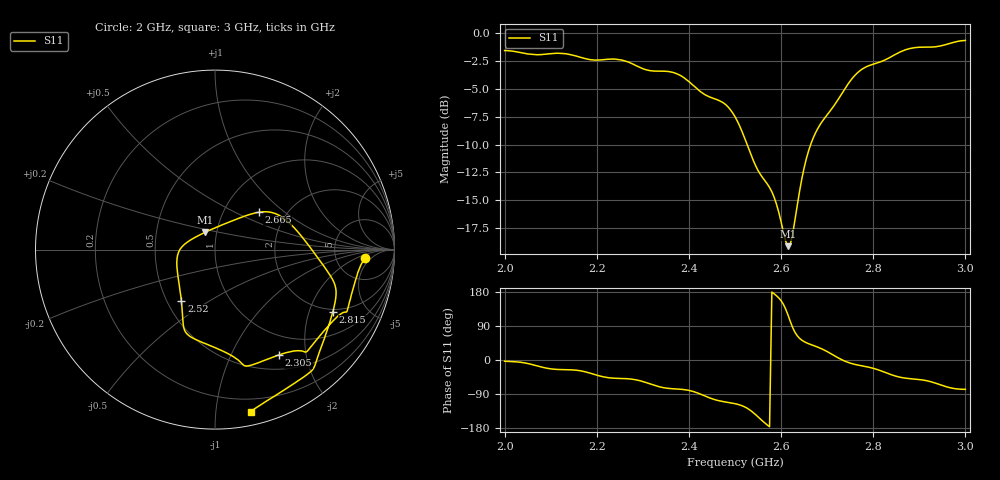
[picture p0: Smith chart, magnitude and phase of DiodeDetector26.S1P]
!Agilent Technologies,E5071C,MY46107443,A.09.30
!Date: Wed Jun 12 17:49:25 2013
!Data & Calibration Information:
!Freq	S11:SOLT1(ON)
# Hz S dB R 50
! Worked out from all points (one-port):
!   201 points, 2 GHz to 3 GHz, reference 50 ohm
!   lowest |S11| = -19.1 dB at 2.615 GHz (marker M1), VSWR 1.25, Z = 44.1 + j8.69 ohm
!   |S11| at or under -10 dB: 2.526 GHz to 2.664 GHz (137.8 MHz wide, 5.31 % of centre)
!   S11 on the Smith chart (normalised r, x): 2 GHz: 10, -3; 2.305 GHz: 0.70, -1.55; 2.52 GHz: 0.59, -0.38; 2.665 GHz: 1.46, +0.67; 2.815 GHz: 1.89, -2.91; 3 GHz: 0.10, -1.24
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2e9  -1.57 -3.2
2.04e9  -1.79 -6.9
2.095e9  -1.87 -22.4
2.125e9  -1.82 -25.4
2.165e9  -2.18 -28.6
2.22e9  -2.37 -45.7
2.25e9  -2.40 -48.7
2.305e9  -3.27 -58.8
2.34e9  -3.42 -71.9
2.375e9  -3.68 -76.6
2.4e9  -4.35 -80.2
2.46e9  -5.96 -106.0
2.5e9  -7.50 -115.2
2.52e9  -9.31 -123.2
2.575e9  -13.84 -176.1
2.615e9  -19.10 118.8
2.625e9  -18.06 86.1
2.645e9  -13.07 52.3
2.665e9  -9.91 40.6
2.7e9  -7.34 22.3
2.75e9  -4.30 -8.3
2.78e9  -3.13 -16.5
2.815e9  -2.59 -27.8
2.85e9  -1.87 -43.0
2.875e9  -1.44 -48.7
2.915e9  -1.26 -54.4
2.97e9  -0.88 -74.1
3e9  -0.67 -77.4
